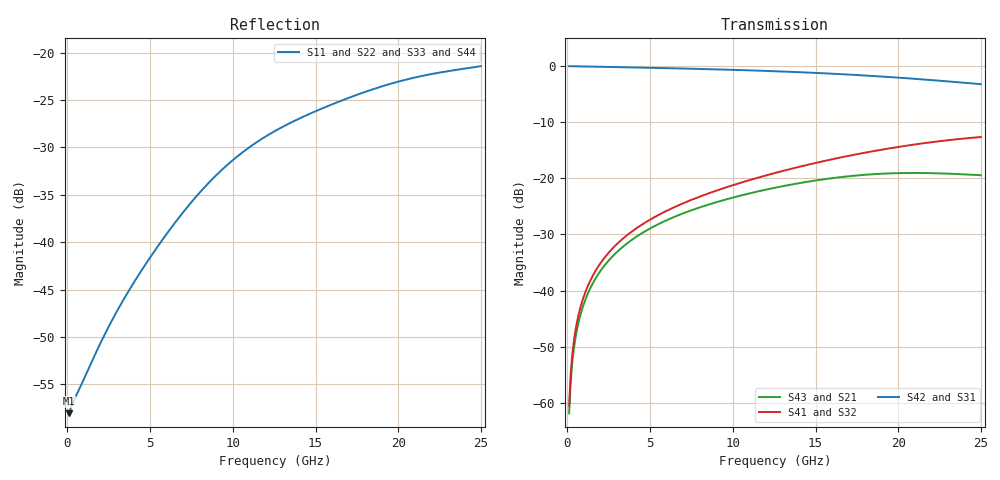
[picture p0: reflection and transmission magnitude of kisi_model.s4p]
! kisi E_s8_L1L8_p1000_oval_g2: fast channel model (formula impedances, via model), up to 25 GHz
# Hz S RI R 50
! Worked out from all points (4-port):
!   250 points, 100 MHz to 25 GHz, reference 50 ohm
!   strongest paths, dB at 100 MHz, 6.3 GHz, 12.6 GHz, 18.8 GHz, 25 GHz:
!     S42: 0.0, -0.4, -0.9, -1.8, -3.2
!     S31: 0.0, -0.4, -0.9, -1.8, -3.2
!     S41: -60.5, -25.4, -19.0, -15.0, -12.6
!     S32: -60.5, -25.4, -19.0, -15.0, -12.6
!     S43: -61.9, -27.1, -21.6, -19.2, -19.4
!     S21: -61.9, -27.1, -21.6, -19.2, -19.4
!   lowest |S11| = -58.1 dB at 100 MHz (marker M1), VSWR 1.00, Z = 50.1 - j0.0066 ohm
!   |S11| at or under -10 dB: start of sweep to end of sweep
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1e8  0.00125 -6.58e-05  5.08e-05 0.000806  0.9973 -0.0385  -6.08e-05 -0.000941
     5.08e-05 0.000806  0.00125 -6.58e-05  -6.08e-05 -0.000941  0.9973 -0.0385
     0.9973 -0.0385  -6.08e-05 -0.000941  0.00125 -6.58e-05  5.08e-05 0.000806
     -6.08e-05 -0.000941  0.9973 -0.0385  5.08e-05 0.000806  0.00125 -6.58e-05
4.1e9  -0.00622 -0.000974  0.0297 -0.00118  0.055 -0.97  -0.0353 0.00118
       0.0297 -0.00118  -0.00622 -0.000974  -0.0353 0.00118  0.055 -0.97
       0.055 -0.97  -0.0353 0.00118  -0.00622 -0.000974  0.0297 -0.00118
       -0.0353 0.00118  0.055 -0.97  0.0297 -0.00118  -0.00622 -0.000974
8e9  -0.0105 0.015  0.0024 -0.0551  -0.9238 -0.1893  -0.00382 0.0686
     0.0024 -0.0551  -0.0105 0.015  -0.00382 0.0686  -0.9238 -0.1893
     -0.9238 -0.1893  -0.00382 0.0686  -0.0105 0.015  0.0024 -0.0551
     -0.00382 0.0686  -0.9238 -0.1893  0.0024 -0.0551  -0.0105 0.015
1.25e10  0.0217 0.0317  -0.0816 0.0101  -0.1126 0.8933  0.1105 -0.0121
         -0.0816 0.0101  0.0217 0.0317  0.1105 -0.0121  -0.1126 0.8933
         -0.1126 0.8933  0.1105 -0.0121  0.0217 0.0317  -0.0816 0.0101
         0.1105 -0.0121  -0.1126 0.8933  -0.0816 0.0101  0.0217 0.0317
1.68e10  0.0557 -0.0116  0.0267 0.1002  0.838 0.0972  -0.0392 -0.1515
         0.0267 0.1002  0.0557 -0.0116  -0.0392 -0.1515  0.838 0.0972
         0.838 0.0972  -0.0392 -0.1515  0.0557 -0.0116  0.0267 0.1002
         -0.0392 -0.1515  0.838 0.0972  0.0267 0.1002  0.0557 -0.0116
2.09e10  0.00732 -0.0732  0.1052 -0.0377  0.1375 -0.7597  -0.1853 0.0736
         0.1052 -0.0377  0.00732 -0.0732  -0.1853 0.0736  0.1375 -0.7597
         0.1375 -0.7597  -0.1853 0.0736  0.00732 -0.0732  0.1052 -0.0377
         -0.1853 0.0736  0.1375 -0.7597  0.1052 -0.0377  0.00732 -0.0732
2.5e10  -0.0786 -0.032  -0.0408 -0.0985  -0.6677 -0.1753  0.1226 0.1986
        -0.0408 -0.0985  -0.0786 -0.032  0.1226 0.1986  -0.6677 -0.1753
        -0.6677 -0.1753  0.1226 0.1986  -0.0786 -0.032  -0.0408 -0.0985
        0.1226 0.1986  -0.6677 -0.1753  -0.0408 -0.0985  -0.0786 -0.032
